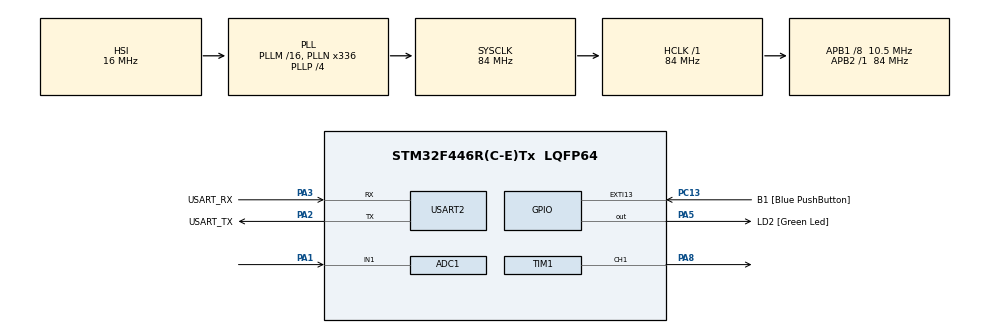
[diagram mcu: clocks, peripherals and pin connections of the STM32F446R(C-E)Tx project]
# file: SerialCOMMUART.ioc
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ADC1.Channel-0\#ChannelRegularConversion=ADC_CHANNEL_1
ADC1.ContinuousConvMode=DISABLE
ADC1.NbrOfConversion=1
ADC1.NbrOfConversionFlag=1
ADC1.Rank-0\#ChannelRegularConversion=1
ADC1.SamplingTime-0\#ChannelRegularConversion=ADC_SAMPLETIME_15CYCLES
ADC1.master=1
Mcu.Family=STM32F4
Mcu.Name=STM32F446R(C-E)Tx
Mcu.Package=LQFP64
NVIC.PriorityGroup=NVIC_PRIORITYGROUP_0
PA1.Signal=ADCx_IN1
PA13.GPIO_Label=TMS
PA13.Mode=Serial_Wire
PA13.Signal=SYS_JTMS-SWDIO
PA14.GPIO_Label=TCK
PA14.Mode=Serial_Wire
PA14.Signal=SYS_JTCK-SWCLK
PA2.GPIO_Label=USART_TX
PA2.Mode=Asynchronous
PA2.Signal=USART2_TX
PA3.GPIO_Label=USART_RX
PA3.Mode=Asynchronous
PA3.Signal=USART2_RX
PA5.GPIO_Label=LD2 [Green Led]
PA5.Signal=GPIO_Output
PA8.Signal=S_TIM1_CH1
PB3.GPIO_Label=SWO
PB3.Signal=SYS_JTDO-SWO
PC13.GPIO_Label=B1 [Blue PushButton]
PC13.GPIO_ModeDefaultEXTI=GPIO_MODE_IT_FALLING
PC13.Signal=GPXTI13
PC14-OSC32_IN.Mode=LSE-External-Oscillator
PC14-OSC32_IN.Signal=RCC_OSC32_IN
PC15-OSC32_OUT.Mode=LSE-External-Oscillator
PC15-OSC32_OUT.Signal=RCC_OSC32_OUT
PH0-OSC_IN.Mode=HSE-External-Oscillator
PH0-OSC_IN.Signal=RCC_OSC_IN
PH1-OSC_OUT.Mode=HSE-External-Oscillator
PH1-OSC_OUT.Signal=RCC_OSC_OUT
ProjectManager.HeapSize=0x200
ProjectManager.StackSize=0x400
ProjectManager.TargetToolchain=STM32CubeIDE
RCC.48MHZClocksFreq_Value=84000000
RCC.AHBFreq_Value=84000000
RCC.APB1CLKDivider=RCC_HCLK_DIV8
RCC.APB1Freq_Value=10500000
RCC.APB1TimFreq_Value=21000000
RCC.APB2Freq_Value=84000000
RCC.APB2TimFreq_Value=84000000
RCC.CortexFreq_Value=84000000
RCC.FLatency-AdvancedSettings=FLASH_LATENCY_2
RCC.HCLKFreq_Value=84000000
RCC.HSE_VALUE=8000000
RCC.HSI_VALUE=16000000
RCC.PLLN=336
RCC.PLLP=RCC_PLLP_DIV4
RCC.SYSCLKFreq_VALUE=84000000
RCC.SYSCLKSource=RCC_SYSCLKSOURCE_PLLCLK
RCC.USBFreq_Value=168000000
RCC.VCOOutputFreq_Value=336000000
SH.ADCx_IN1.0=ADC1_IN1,IN1
SH.S_TIM1_CH1.0=TIM1_CH1,PWM Generation1 CH1
TIM1.Channel-PWM\ Generation1\ CH1=TIM_CHANNEL_1
TIM1.Period=2099
TIM1.Prescaler=199
USART2.VirtualMode=VM_ASYNC
VP_TIM1_VS_ClockSourceINT.Mode=Internal
board=NUCLEO-F446RE

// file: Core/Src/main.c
/* USER CODE BEGIN Header */
/**
  ******************************************************************************
  * @file           : main.c
  * @brief          : Main program body
  ******************************************************************************
  * @attention
  *
  * Copyright (c) 2025 STMicroelectronics.
  * All rights reserved.
  *
  * This software is licensed under terms that can be found in the LICENSE file
  * in the root directory of this software component.
  * If no LICENSE file comes with this software, it is provided AS-IS.
  *
  ******************************************************************************
  */
/* USER CODE END Header */
#include "main.h"

/* USER CODE BEGIN Includes */
#include <stdio.h>
#include <string.h>

/* USER CODE END Includes */

ADC_HandleTypeDef hadc1;

TIM_HandleTypeDef htim1;

UART_HandleTypeDef huart2;

void SystemClock_Config(void);
static void MX_GPIO_Init(void);
static void MX_USART2_UART_Init(void);
static void MX_ADC1_Init(void);
static void MX_TIM1_Init(void);
/* USER CODE BEGIN PFP */
static inline uint8_t analog_to_prctg(uint32_t analog);
static inline uint32_t prctg_to_ccr(float prctg);

/* USER CODE END PFP */

int main(void)
{

  /* MCU Configuration--------------------------------------------------------*/

  /* Reset of all peripherals, Initializes the Flash interface and the Systick. */
  HAL_Init();

  /* Configure the system clock */
  SystemClock_Config();

  /* Initialize all configured peripherals */
  MX_GPIO_Init();
  MX_USART2_UART_Init();
  MX_ADC1_Init();
  MX_TIM1_Init();
  /* USER CODE BEGIN 2 */
  uint16_t Zaxis_value;
  char msg[100];
  /* USER CODE END 2 */

  /* Infinite loop */
  while (1)
  {

    /* USER CODE BEGIN 3 */
	  HAL_ADC_Start(&hadc1);
	  HAL_TIM_PWM_Start(&htim1, TIM_CHANNEL_1);
	  HAL_ADC_PollForConversion(&hadc1, 20);

	  //get adc value from a1
	  Zaxis_value = HAL_ADC_GetValue(&hadc1);
	  //keep string in the msg variable
	  sprintf(msg,"zaxis value= %hu \r\n",Zaxis_value);
	  //send it through uart
	  HAL_UART_Transmit(&huart2, (uint8_t *)msg, strlen(msg), HAL_MAX_DELAY);

	  uint8_t prctg = analog_to_prctg(Zaxis_value);

	  //linear mapping  from 0%-100% into 5%-15% for servo 1ms to 2ms duty cycle.
	  //but practically servo range is 10% to 44%. figure why is this> is the pwm freq correct?
	  uint8_t prtcg_in_range = 10+prctg*0.35;

	  sprintf(msg,"percentage value= %hu \r\n",prtcg_in_range);
	  //send it through uart
	  HAL_UART_Transmit(&huart2, (uint8_t *)msg, strlen(msg), HAL_MAX_DELAY);

	  uint32_t CCR = prctg_to_ccr(prtcg_in_range);
	  sprintf(msg,"CCR value= %ld \r\n",CCR);
	  //send it through uart
	  HAL_UART_Transmit(&huart2, (uint8_t *)msg, strlen(msg), HAL_MAX_DELAY);

	  __HAL_TIM_SET_COMPARE(&htim1, TIM_CHANNEL_1, CCR);
	  HAL_Delay(500);

  }
  /* USER CODE END 3 */
}

void SystemClock_Config(void)
{
  RCC_OscInitTypeDef RCC_OscInitStruct = {0};
  RCC_ClkInitTypeDef RCC_ClkInitStruct = {0};

  /** Configure the main internal regulator output voltage
  */
  __HAL_RCC_PWR_CLK_ENABLE();
  __HAL_PWR_VOLTAGESCALING_CONFIG(PWR_REGULATOR_VOLTAGE_SCALE3);

  /** Initializes the RCC Oscillators according to the specified parameters
  * in the RCC_OscInitTypeDef structure.
  */
  RCC_OscInitStruct.OscillatorType = RCC_OSCILLATORTYPE_HSI;
  RCC_OscInitStruct.HSIState = RCC_HSI_ON;
  RCC_OscInitStruct.HSICalibrationValue = RCC_HSICALIBRATION_DEFAULT;
  RCC_OscInitStruct.PLL.PLLState = RCC_PLL_ON;
  RCC_OscInitStruct.PLL.PLLSource = RCC_PLLSOURCE_HSI;
  RCC_OscInitStruct.PLL.PLLM = 16;
  RCC_OscInitStruct.PLL.PLLN = 336;
  RCC_OscInitStruct.PLL.PLLP = RCC_PLLP_DIV4;
  RCC_OscInitStruct.PLL.PLLQ = 2;
  RCC_OscInitStruct.PLL.PLLR = 2;
  if (HAL_RCC_OscConfig(&RCC_OscInitStruct) != HAL_OK)
  {
    Error_Handler();
  }

  /** Initializes the CPU, AHB and APB buses clocks
  */
  RCC_ClkInitStruct.ClockType = RCC_CLOCKTYPE_HCLK|RCC_CLOCKTYPE_SYSCLK
                              |RCC_CLOCKTYPE_PCLK1|RCC_CLOCKTYPE_PCLK2;
  RCC_ClkInitStruct.SYSCLKSource = RCC_SYSCLKSOURCE_PLLCLK;
  RCC_ClkInitStruct.AHBCLKDivider = RCC_SYSCLK_DIV1;
  RCC_ClkInitStruct.APB1CLKDivider = RCC_HCLK_DIV8;
  RCC_ClkInitStruct.APB2CLKDivider = RCC_HCLK_DIV1;

  if (HAL_RCC_ClockConfig(&RCC_ClkInitStruct, FLASH_LATENCY_2) != HAL_OK)
  {
    Error_Handler();
  }
}

static void MX_ADC1_Init(void)
{

  ADC_ChannelConfTypeDef sConfig = {0};

  /** Configure the global features of the ADC (Clock, Resolution, Data Alignment and number of conversion)
  */
  hadc1.Instance = ADC1;
  hadc1.Init.ClockPrescaler = ADC_CLOCK_SYNC_PCLK_DIV4;
  hadc1.Init.Resolution = ADC_RESOLUTION_12B;
  hadc1.Init.ScanConvMode = DISABLE;
  hadc1.Init.ContinuousConvMode = DISABLE;
  hadc1.Init.DiscontinuousConvMode = DISABLE;
  hadc1.Init.ExternalTrigConvEdge = ADC_EXTERNALTRIGCONVEDGE_NONE;
  hadc1.Init.ExternalTrigConv = ADC_SOFTWARE_START;
  hadc1.Init.DataAlign = ADC_DATAALIGN_RIGHT;
  hadc1.Init.NbrOfConversion = 1;
  hadc1.Init.DMAContinuousRequests = DISABLE;
  hadc1.Init.EOCSelection = ADC_EOC_SINGLE_CONV;
  if (HAL_ADC_Init(&hadc1) != HAL_OK)
  {
    Error_Handler();
  }

  /** Configure for the selected ADC regular channel its corresponding rank in the sequencer and its sample time.
  */
  sConfig.Channel = ADC_CHANNEL_1;
  sConfig.Rank = 1;
  sConfig.SamplingTime = ADC_SAMPLETIME_15CYCLES;
  if (HAL_ADC_ConfigChannel(&hadc1, &sConfig) != HAL_OK)
  {
    Error_Handler();
  }

}

static void MX_TIM1_Init(void)
{

  TIM_ClockConfigTypeDef sClockSourceConfig = {0};
  TIM_MasterConfigTypeDef sMasterConfig = {0};
  TIM_OC_InitTypeDef sConfigOC = {0};
  TIM_BreakDeadTimeConfigTypeDef sBreakDeadTimeConfig = {0};

  htim1.Instance = TIM1;
  htim1.Init.Prescaler = 199;
  htim1.Init.CounterMode = TIM_COUNTERMODE_UP;
  htim1.Init.Period = 2099;
  htim1.Init.ClockDivision = TIM_CLOCKDIVISION_DIV1;
  htim1.Init.RepetitionCounter = 0;
  htim1.Init.AutoReloadPreload = TIM_AUTORELOAD_PRELOAD_DISABLE;
  if (HAL_TIM_Base_Init(&htim1) != HAL_OK)
  {
    Error_Handler();
  }
  sClockSourceConfig.ClockSource = TIM_CLOCKSOURCE_INTERNAL;
  if (HAL_TIM_ConfigClockSource(&htim1, &sClockSourceConfig) != HAL_OK)
  {
    Error_Handler();
  }
  if (HAL_TIM_PWM_Init(&htim1) != HAL_OK)
  {
    Error_Handler();
  }
  sMasterConfig.MasterOutputTrigger = TIM_TRGO_RESET;
  sMasterConfig.MasterSlaveMode = TIM_MASTERSLAVEMODE_DISABLE;
  if (HAL_TIMEx_MasterConfigSynchronization(&htim1, &sMasterConfig) != HAL_OK)
  {
    Error_Handler();
  }
  sConfigOC.OCMode = TIM_OCMODE_PWM1;
  sConfigOC.Pulse = 0;
  sConfigOC.OCPolarity = TIM_OCPOLARITY_HIGH;
  sConfigOC.OCNPolarity = TIM_OCNPOLARITY_HIGH;
  sConfigOC.OCFastMode = TIM_OCFAST_DISABLE;
  sConfigOC.OCIdleState = TIM_OCIDLESTATE_RESET;
  sConfigOC.OCNIdleState = TIM_OCNIDLESTATE_RESET;
  if (HAL_TIM_PWM_ConfigChannel(&htim1, &sConfigOC, TIM_CHANNEL_1) != HAL_OK)
  {
    Error_Handler();
  }
  sBreakDeadTimeConfig.OffStateRunMode = TIM_OSSR_DISABLE;
  sBreakDeadTimeConfig.OffStateIDLEMode = TIM_OSSI_DISABLE;
  sBreakDeadTimeConfig.LockLevel = TIM_LOCKLEVEL_OFF;
  sBreakDeadTimeConfig.DeadTime = 0;
  sBreakDeadTimeConfig.BreakState = TIM_BREAK_DISABLE;
  sBreakDeadTimeConfig.BreakPolarity = TIM_BREAKPOLARITY_HIGH;
  sBreakDeadTimeConfig.AutomaticOutput = TIM_AUTOMATICOUTPUT_DISABLE;
  if (HAL_TIMEx_ConfigBreakDeadTime(&htim1, &sBreakDeadTimeConfig) != HAL_OK)
  {
    Error_Handler();
  }
  HAL_TIM_MspPostInit(&htim1);

}

static void MX_USART2_UART_Init(void)
{

  huart2.Instance = USART2;
  huart2.Init.BaudRate = 115200;
  huart2.Init.WordLength = UART_WORDLENGTH_8B;
  huart2.Init.StopBits = UART_STOPBITS_1;
  huart2.Init.Parity = UART_PARITY_NONE;
  huart2.Init.Mode = UART_MODE_TX_RX;
  huart2.Init.HwFlowCtl = UART_HWCONTROL_NONE;
  huart2.Init.OverSampling = UART_OVERSAMPLING_16;
  if (HAL_UART_Init(&huart2) != HAL_OK)
  {
    Error_Handler();
  }

}

static void MX_GPIO_Init(void)
{
  GPIO_InitTypeDef GPIO_InitStruct = {0};

  /* GPIO Ports Clock Enable */
  __HAL_RCC_GPIOC_CLK_ENABLE();
  __HAL_RCC_GPIOH_CLK_ENABLE();
  __HAL_RCC_GPIOA_CLK_ENABLE();
  __HAL_RCC_GPIOB_CLK_ENABLE();

  /*Configure GPIO pin Output Level */
  HAL_GPIO_WritePin(LD2_GPIO_Port, LD2_Pin, GPIO_PIN_RESET);

  /*Configure GPIO pin : B1_Pin */
  GPIO_InitStruct.Pin = B1_Pin;
  GPIO_InitStruct.Mode = GPIO_MODE_IT_FALLING;
  GPIO_InitStruct.Pull = GPIO_NOPULL;
  HAL_GPIO_Init(B1_GPIO_Port, &GPIO_InitStruct);

  /*Configure GPIO pin : LD2_Pin */
  GPIO_InitStruct.Pin = LD2_Pin;
  GPIO_InitStruct.Mode = GPIO_MODE_OUTPUT_PP;
  GPIO_InitStruct.Pull = GPIO_NOPULL;
  GPIO_InitStruct.Speed = GPIO_SPEED_FREQ_LOW;
  HAL_GPIO_Init(LD2_GPIO_Port, &GPIO_InitStruct);

}

/* USER CODE BEGIN 4 */
static inline uint32_t prctg_to_ccr(float prctg){
	//CCR value should be within ARR/2 value.so it should be fraction of ARR/2.
	//ARR is the full cycle counter ARR/2 is half wave.
	uint32_t count = prctg * htim1.Init.Period / 100;
	count = count>htim1.Init.Period?htim1.Init.Period:count<0?0:count;
	return count;
}

static inline uint8_t analog_to_prctg(uint32_t analog){
	uint8_t prctg = analog*100/4100;//considering that analog value is 0 4096 and rounding it to 4K as 12 bit ADC;
	return prctg;
}
/* USER CODE END 4 */

void Error_Handler(void)
{
  __disable_irq();
  while (1)
  {
  }
}
